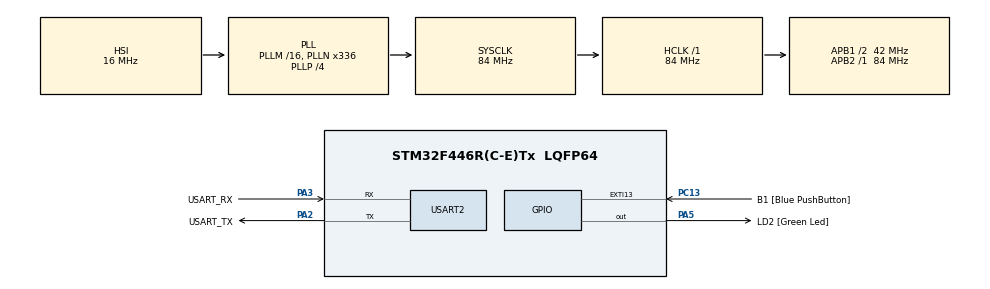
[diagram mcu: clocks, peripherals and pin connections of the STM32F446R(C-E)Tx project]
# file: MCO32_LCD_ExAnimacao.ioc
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Mcu.Family=STM32F4
Mcu.Name=STM32F446R(C-E)Tx
Mcu.Package=LQFP64
NVIC.PriorityGroup=NVIC_PRIORITYGROUP_0
PA13.GPIO_Label=TMS
PA13.Mode=Serial_Wire
PA13.Signal=SYS_JTMS-SWDIO
PA14.GPIO_Label=TCK
PA14.Mode=Serial_Wire
PA14.Signal=SYS_JTCK-SWCLK
PA2.GPIO_Label=USART_TX
PA2.Mode=Asynchronous
PA2.Signal=USART2_TX
PA3.GPIO_Label=USART_RX
PA3.Mode=Asynchronous
PA3.Signal=USART2_RX
PA5.GPIO_Label=LD2 [Green Led]
PA5.Signal=GPIO_Output
PB3.GPIO_Label=SWO
PB3.Signal=SYS_JTDO-SWO
PC13.GPIO_Label=B1 [Blue PushButton]
PC13.GPIO_ModeDefaultEXTI=GPIO_MODE_IT_FALLING
PC13.Signal=GPXTI13
PC14-OSC32_IN.Mode=LSE-External-Oscillator
PC14-OSC32_IN.Signal=RCC_OSC32_IN
PC15-OSC32_OUT.Mode=LSE-External-Oscillator
PC15-OSC32_OUT.Signal=RCC_OSC32_OUT
PH0-OSC_IN.Mode=HSE-External-Oscillator
PH0-OSC_IN.Signal=RCC_OSC_IN
PH1-OSC_OUT.Mode=HSE-External-Oscillator
PH1-OSC_OUT.Signal=RCC_OSC_OUT
ProjectManager.HeapSize=0x200
ProjectManager.StackSize=0x400
ProjectManager.TargetToolchain=STM32CubeIDE
RCC.48MHZClocksFreq_Value=84000000
RCC.AHBFreq_Value=84000000
RCC.APB1CLKDivider=RCC_HCLK_DIV2
RCC.APB1Freq_Value=42000000
RCC.APB1TimFreq_Value=84000000
RCC.APB2Freq_Value=84000000
RCC.APB2TimFreq_Value=84000000
RCC.CortexFreq_Value=84000000
RCC.FLatency-AdvancedSettings=FLASH_LATENCY_2
RCC.HCLKFreq_Value=84000000
RCC.HSE_VALUE=8000000
RCC.HSI_VALUE=16000000
RCC.PLLN=336
RCC.PLLP=RCC_PLLP_DIV4
RCC.SYSCLKFreq_VALUE=84000000
RCC.SYSCLKSource=RCC_SYSCLKSOURCE_PLLCLK
RCC.USBFreq_Value=168000000
RCC.VCOOutputFreq_Value=336000000
TIM1.AutoReloadPreload=TIM_AUTORELOAD_PRELOAD_ENABLE
TIM1.Period=0xFFFF-1
TIM1.Prescaler=84-1
USART2.VirtualMode=VM_ASYNC
VP_TIM1_VS_ClockSourceINT.Mode=Internal
board=NUCLEO-F446RE

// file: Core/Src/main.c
/* USER CODE BEGIN Header */
/**
  ******************************************************************************
  * @file           : main.c
  * @brief          : Main program body
  ******************************************************************************
  * @attention
  *
  * Copyright (c) 2022 STMicroelectronics.
  * All rights reserved.
  *
  * This software is licensed under terms that can be found in the LICENSE file
  * in the root directory of this software component.
  * If no LICENSE file comes with this software, it is provided AS-IS.
  *
  ******************************************************************************
  */
/* USER CODE END Header */
#include "main.h"

/* USER CODE BEGIN Includes */
#include "fonts.h"
#include "tft.h"
#include "user_setting.h"
#include "functions.h"
/* USER CODE END Includes */

/* USER CODE BEGIN PD */
#define SCREEN_ORIENTATION 1 //0: Retrato | 1: Paisagem
#define SCREEN_BG WHITE //Cor de fundo
/* USER CODE END PD */

TIM_HandleTypeDef htim1;

UART_HandleTypeDef huart2;

/* USER CODE BEGIN PV */
extern const unsigned short frame_0[];
extern const unsigned short frame_1[];
extern const unsigned short frame_2[];
extern const unsigned short frame_3[];
/* USER CODE END PV */

void SystemClock_Config(void);
static void MX_GPIO_Init(void);
static void MX_USART2_UART_Init(void);
static void MX_TIM1_Init(void);
/* USER CODE BEGIN PFP */
void setScreenSettings(void);
/* USER CODE END PFP */

int main(void)
{

  /* MCU Configuration--------------------------------------------------------*/

  /* Reset of all peripherals, Initializes the Flash interface and the Systick. */
  HAL_Init();

  /* Configure the system clock */
  SystemClock_Config();

  /* Initialize all configured peripherals */
  MX_GPIO_Init();
  MX_USART2_UART_Init();
  MX_TIM1_Init();
  /* USER CODE BEGIN 2 */
  setScreenSettings();
  /* USER CODE END 2 */

  /* Infinite loop */
  /* USER CODE BEGIN WHILE */
  while (1)
  {
	  drawRGBBitmap(45, 234, frame_0, 230, 230);
	  drawRGBBitmap(45, 234, frame_1, 230, 230);
	  drawRGBBitmap(45, 234, frame_2, 230, 230);
	  drawRGBBitmap(45, 234, frame_3, 230, 230);
    /* USER CODE END WHILE */

  }
}

void SystemClock_Config(void)
{
  RCC_OscInitTypeDef RCC_OscInitStruct = {0};
  RCC_ClkInitTypeDef RCC_ClkInitStruct = {0};

  /** Configure the main internal regulator output voltage
  */
  __HAL_RCC_PWR_CLK_ENABLE();
  __HAL_PWR_VOLTAGESCALING_CONFIG(PWR_REGULATOR_VOLTAGE_SCALE3);

  /** Initializes the RCC Oscillators according to the specified parameters
  * in the RCC_OscInitTypeDef structure.
  */
  RCC_OscInitStruct.OscillatorType = RCC_OSCILLATORTYPE_HSI;
  RCC_OscInitStruct.HSIState = RCC_HSI_ON;
  RCC_OscInitStruct.HSICalibrationValue = RCC_HSICALIBRATION_DEFAULT;
  RCC_OscInitStruct.PLL.PLLState = RCC_PLL_ON;
  RCC_OscInitStruct.PLL.PLLSource = RCC_PLLSOURCE_HSI;
  RCC_OscInitStruct.PLL.PLLM = 16;
  RCC_OscInitStruct.PLL.PLLN = 336;
  RCC_OscInitStruct.PLL.PLLP = RCC_PLLP_DIV4;
  RCC_OscInitStruct.PLL.PLLQ = 2;
  RCC_OscInitStruct.PLL.PLLR = 2;
  if (HAL_RCC_OscConfig(&RCC_OscInitStruct) != HAL_OK)
  {
    Error_Handler();
  }

  /** Initializes the CPU, AHB and APB buses clocks
  */
  RCC_ClkInitStruct.ClockType = RCC_CLOCKTYPE_HCLK|RCC_CLOCKTYPE_SYSCLK
                              |RCC_CLOCKTYPE_PCLK1|RCC_CLOCKTYPE_PCLK2;
  RCC_ClkInitStruct.SYSCLKSource = RCC_SYSCLKSOURCE_PLLCLK;
  RCC_ClkInitStruct.AHBCLKDivider = RCC_SYSCLK_DIV1;
  RCC_ClkInitStruct.APB1CLKDivider = RCC_HCLK_DIV2;
  RCC_ClkInitStruct.APB2CLKDivider = RCC_HCLK_DIV1;

  if (HAL_RCC_ClockConfig(&RCC_ClkInitStruct, FLASH_LATENCY_2) != HAL_OK)
  {
    Error_Handler();
  }
}

static void MX_TIM1_Init(void)
{

  TIM_ClockConfigTypeDef sClockSourceConfig = {0};
  TIM_MasterConfigTypeDef sMasterConfig = {0};

  htim1.Instance = TIM1;
  htim1.Init.Prescaler = 84-1;
  htim1.Init.CounterMode = TIM_COUNTERMODE_UP;
  htim1.Init.Period = 0xFFFF-1;
  htim1.Init.ClockDivision = TIM_CLOCKDIVISION_DIV1;
  htim1.Init.RepetitionCounter = 0;
  htim1.Init.AutoReloadPreload = TIM_AUTORELOAD_PRELOAD_ENABLE;
  if (HAL_TIM_Base_Init(&htim1) != HAL_OK)
  {
    Error_Handler();
  }
  sClockSourceConfig.ClockSource = TIM_CLOCKSOURCE_INTERNAL;
  if (HAL_TIM_ConfigClockSource(&htim1, &sClockSourceConfig) != HAL_OK)
  {
    Error_Handler();
  }
  sMasterConfig.MasterOutputTrigger = TIM_TRGO_RESET;
  sMasterConfig.MasterSlaveMode = TIM_MASTERSLAVEMODE_DISABLE;
  if (HAL_TIMEx_MasterConfigSynchronization(&htim1, &sMasterConfig) != HAL_OK)
  {
    Error_Handler();
  }

}

static void MX_USART2_UART_Init(void)
{

  huart2.Instance = USART2;
  huart2.Init.BaudRate = 115200;
  huart2.Init.WordLength = UART_WORDLENGTH_8B;
  huart2.Init.StopBits = UART_STOPBITS_1;
  huart2.Init.Parity = UART_PARITY_NONE;
  huart2.Init.Mode = UART_MODE_TX_RX;
  huart2.Init.HwFlowCtl = UART_HWCONTROL_NONE;
  huart2.Init.OverSampling = UART_OVERSAMPLING_16;
  if (HAL_UART_Init(&huart2) != HAL_OK)
  {
    Error_Handler();
  }

}

static void MX_GPIO_Init(void)
{
  GPIO_InitTypeDef GPIO_InitStruct = {0};

  /* GPIO Ports Clock Enable */
  __HAL_RCC_GPIOC_CLK_ENABLE();
  __HAL_RCC_GPIOH_CLK_ENABLE();
  __HAL_RCC_GPIOA_CLK_ENABLE();
  __HAL_RCC_GPIOB_CLK_ENABLE();

  /*Configure GPIO pin Output Level */
  HAL_GPIO_WritePin(LD2_GPIO_Port, LD2_Pin, GPIO_PIN_RESET);

  /*Configure GPIO pin : B1_Pin */
  GPIO_InitStruct.Pin = B1_Pin;
  GPIO_InitStruct.Mode = GPIO_MODE_IT_FALLING;
  GPIO_InitStruct.Pull = GPIO_NOPULL;
  HAL_GPIO_Init(B1_GPIO_Port, &GPIO_InitStruct);

  /*Configure GPIO pin : LD2_Pin */
  GPIO_InitStruct.Pin = LD2_Pin;
  GPIO_InitStruct.Mode = GPIO_MODE_OUTPUT_PP;
  GPIO_InitStruct.Pull = GPIO_NOPULL;
  GPIO_InitStruct.Speed = GPIO_SPEED_FREQ_LOW;
  HAL_GPIO_Init(LD2_GPIO_Port, &GPIO_InitStruct);

}

/* USER CODE BEGIN 4 */

/**
 * @brief Configura o LCD
 */
void setScreenSettings(void)
{
	tft_gpio_init(); //Inicializa os GPIOs do LCD (evita uso do CubeMX)
	HAL_TIM_Base_Start(&htim1); //Inicializa o Timer1 (base de tempo de us do LCD)
	uint16_t ID = tft_readID(); //Lê o ID do LCD (poderia ser chamada pela inicialização do LCD)
	HAL_Delay(100);
	tft_init(ID); //Inicializa o LCD de acordo com seu ID
	setRotation(SCREEN_ORIENTATION); //Ajusta a orientação da tela (paisagem)
	fillScreen(SCREEN_BG);
}

/* USER CODE END 4 */

void Error_Handler(void)
{
  __disable_irq();
  while (1)
  {
  }
}
